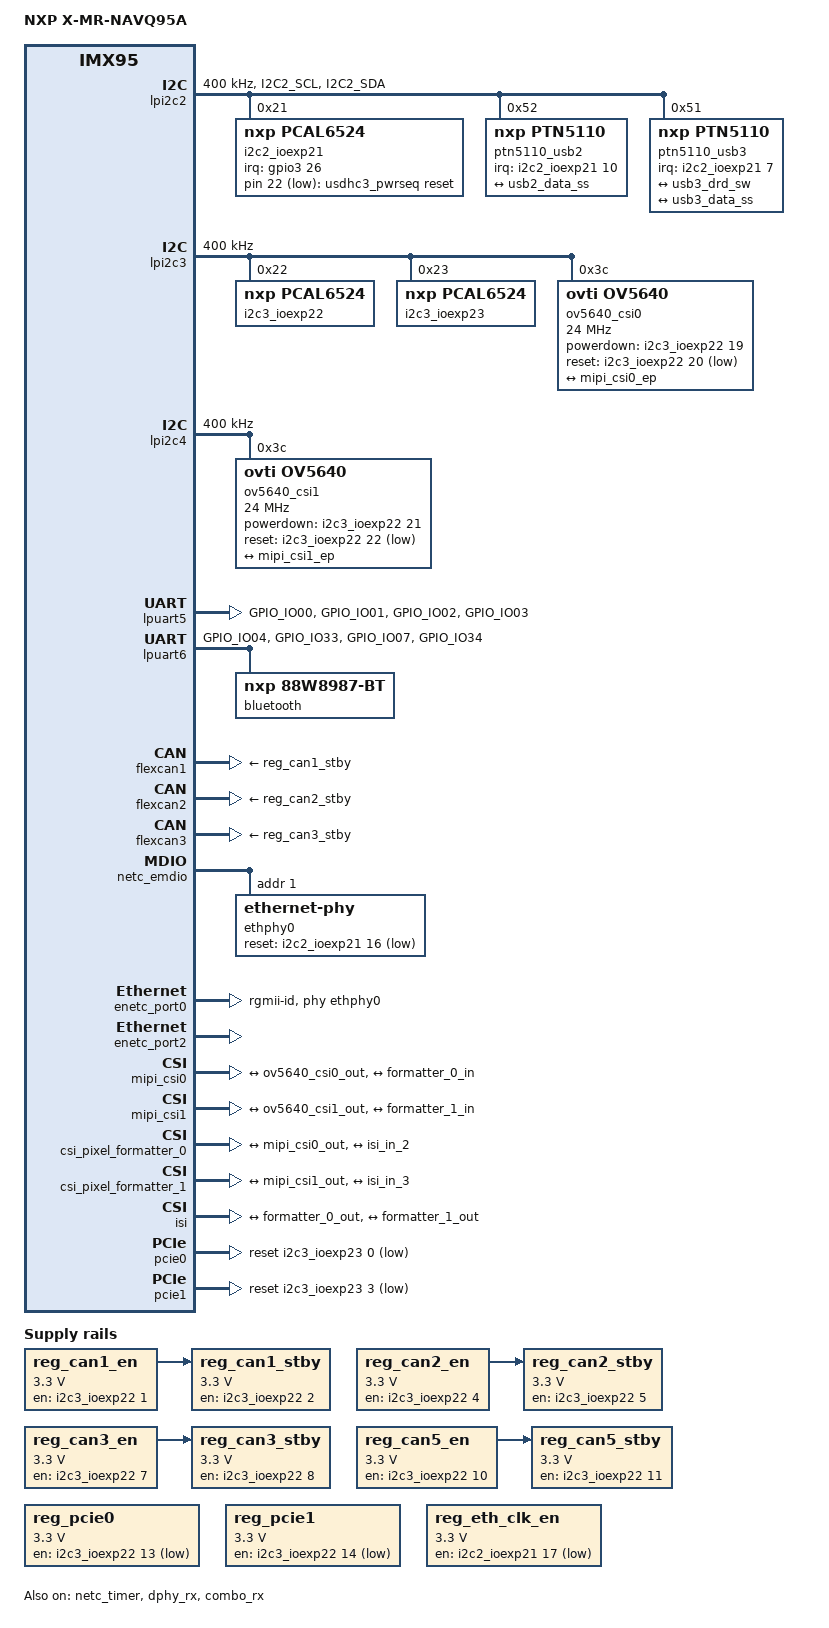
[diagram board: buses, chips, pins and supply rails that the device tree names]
// SPDX-License-Identifier: (GPL-2.0+ OR MIT)
/*
 * Copyright 2025 NXP
 */

/dts-v1/;

#include "imx95-navq.dtsi"

/ {
	model = "NXP X-MR-NAVQ95A";
	compatible = "fsl,imx95-navqa", "fsl,imx95";

	reg_can1_stby: regulator-can1-stby {
		compatible = "regulator-fixed";
		regulator-name = "can1-stby";
		regulator-min-microvolt = <3300000>;
		regulator-max-microvolt = <3300000>;
		gpio = <&i2c3_ioexp22 2 GPIO_ACTIVE_HIGH>;
		enable-active-high;
		vin-supply = <&reg_can1_en>;
	};

	reg_can1_en: regulator-can1-en {
		compatible = "regulator-fixed";
		regulator-name = "can1-en";
		regulator-min-microvolt = <3300000>;
		regulator-max-microvolt = <3300000>;
		gpio = <&i2c3_ioexp22 1 GPIO_ACTIVE_HIGH>;
		enable-active-high;
	};

	reg_can2_stby: regulator-can2-stby {
		compatible = "regulator-fixed";
		regulator-name = "can2-stby";
		regulator-min-microvolt = <3300000>;
		regulator-max-microvolt = <3300000>;
		gpio = <&i2c3_ioexp22 5 GPIO_ACTIVE_HIGH>;
		enable-active-high;
		vin-supply = <&reg_can2_en>;
	};

	reg_can2_en: regulator-can2-en {
		compatible = "regulator-fixed";
		regulator-name = "can2-en";
		regulator-min-microvolt = <3300000>;
		regulator-max-microvolt = <3300000>;
		gpio = <&i2c3_ioexp22 4 GPIO_ACTIVE_HIGH>;
		enable-active-high;
	};

	reg_can3_stby: regulator-can3-stby {
		compatible = "regulator-fixed";
		regulator-name = "can3-stby";
		regulator-min-microvolt = <3300000>;
		regulator-max-microvolt = <3300000>;
		gpio = <&i2c3_ioexp22 8 GPIO_ACTIVE_HIGH>;
		enable-active-high;
		vin-supply = <&reg_can3_en>;
	};

	reg_can3_en: regulator-can3-en {
		compatible = "regulator-fixed";
		regulator-name = "can3-en";
		regulator-min-microvolt = <3300000>;
		regulator-max-microvolt = <3300000>;
		gpio = <&i2c3_ioexp22 7 GPIO_ACTIVE_HIGH>;
		enable-active-high;
	};

	reg_can5_stby: regulator-can5-stby {
		compatible = "regulator-fixed";
		regulator-name = "can5-stby";
		regulator-min-microvolt = <3300000>;
		regulator-max-microvolt = <3300000>;
		gpio = <&i2c3_ioexp22 11 GPIO_ACTIVE_HIGH>;
		enable-active-high;
		vin-supply = <&reg_can5_en>;
	};

	reg_can5_en: regulator-can5-en {
		compatible = "regulator-fixed";
		regulator-name = "can5-en";
		regulator-min-microvolt = <3300000>;
		regulator-max-microvolt = <3300000>;
		gpio = <&i2c3_ioexp22 10 GPIO_ACTIVE_HIGH>;
		enable-active-high;
	};

	usdhc3_pwrseq: usdhc3-pwrseq {
		compatible = "mmc-pwrseq-simple";
		reset-gpios = <&i2c2_ioexp21 22 (GPIO_ACTIVE_LOW | GPIO_OPEN_DRAIN)>;
		post-power-on-delay-ms = <200>;
	};

	reg_pcie0: regulator-pcie0 {
		compatible = "regulator-fixed";
		regulator-name = "SLOT_PWREN_SDD";
		regulator-min-microvolt = <3300000>;
		regulator-max-microvolt = <3300000>;
		gpio = <&i2c3_ioexp22 13 GPIO_ACTIVE_LOW>;
		enable-active-low;
		regulator-always-on;
	};

	reg_pcie1: regulator-pcie1 {
		compatible = "regulator-fixed";
		regulator-name = "SLOT_PWREN_5G";
		regulator-min-microvolt = <3300000>;
		regulator-max-microvolt = <3300000>;
		gpio = <&i2c3_ioexp22 14 GPIO_ACTIVE_LOW>;
		enable-active-low;
		regulator-always-on;
	};

	reg_eth_clk_en: regulator-eth-clk-en {
		compatible = "regulator-fixed";
		regulator-name = "eth-clk-en";
		regulator-min-microvolt = <3300000>;
		regulator-max-microvolt = <3300000>;
		gpio = <&i2c2_ioexp21 17 GPIO_ACTIVE_LOW>;
	};
};

&lpi2c2 {
	#address-cells = <1>;
	#size-cells = <0>;
	clock-frequency = <400000>;
	pinctrl-names = "default", "sleep";
	pinctrl-0 = <&pinctrl_lpi2c2>;
	pinctrl-1 = <&pinctrl_lpi2c2>;
	/delete-property/ dmas;
	/delete-property/ dma-names;
	status = "okay";

	i2c2_ioexp21: i2c2-gpio@21 {
		compatible = "nxp,pcal6524";
		reg = <0x21>;
		gpio-controller;
		#gpio-cells = <2>;
		pinctrl-names = "default";
		pinctrl-0 = <&pinctrl_i2c2_ioexp21>;
		interrupt-controller;
		#interrupt-cells = <2>;
		interrupt-parent = <&gpio3>;
		interrupts = <26 IRQ_TYPE_EDGE_FALLING>;
		status = "okay";

		sja1110_sw_int_n: sja1110-sw-int-n {
			gpio-hog;
			gpios = <3 (GPIO_ACTIVE_LOW | GPIO_LINE_OPEN_DRAIN | GPIO_PULL_UP)>;
			input;
		};

		usb1_ptn_int_b: usb1-ptn-int-b {
			gpio-hog;
			gpios = <7 (GPIO_ACTIVE_LOW | GPIO_LINE_OPEN_DRAIN | GPIO_PULL_UP)>;
			input;
		};

		usb1_ptn_flt_b: usb1-ptn-flt-b {
			gpio-hog;
			gpios = <8 (GPIO_ACTIVE_LOW | GPIO_LINE_OPEN_DRAIN | GPIO_PULL_UP)>;
			input;
		};

		int_sw_usb1_b: int-sw-usb1-b {
			gpio-hog;
			gpios = <9 (GPIO_ACTIVE_LOW | GPIO_LINE_OPEN_DRAIN)>;
			input;
		};

		usb2_ptn_int_b: usb2-ptn-int-b {
			gpio-hog;
			gpios = <10 (GPIO_ACTIVE_LOW | GPIO_LINE_OPEN_DRAIN | GPIO_PULL_UP)>;
			input;
		};

		usb2_ptn_flt_b: usb2-ptn-flt-b {
			gpio-hog;
			gpios = <11 (GPIO_ACTIVE_LOW | GPIO_LINE_OPEN_DRAIN | GPIO_PULL_UP)>;
			input;
		};

		int_sw_usb2_b: int-sw-usb2-b {
			gpio-hog;
			gpios = <12 (GPIO_ACTIVE_LOW | GPIO_LINE_OPEN_DRAIN)>;
			input;
		};

		si5332_rst: si5332-rst {
			gpio-hog;
			gpios = <18 GPIO_ACTIVE_HIGH>;
			output-low;
		};

		sja1110_rst_n: sja1110-rst-n {
			gpio-hog;
			gpios = <20 GPIO_ACTIVE_LOW>;
			output-low;
		};

		sja1110_rst_core_n: sja1110-rst-core-n {
			gpio-hog;
			gpios = <21 GPIO_ACTIVE_LOW>;
			output-low;
		};

		se_enable: se-enable {
			gpio-hog;
			gpios = <23 GPIO_ACTIVE_HIGH>;
			output-high;
		};
	};

	ptn5110_usb2: tcpc_usb2@52 {
		compatible = "nxp,ptn5110";
		pinctrl-names = "default";
		reg = <0x52>;
		interrupt-parent = <&i2c2_ioexp21>;
		interrupts = <10 IRQ_TYPE_EDGE_FALLING>; // 10 = USB2_PTN_INT_B

		typec_con2: connector {
			compatible = "usb-c-connector";
			label = "USB-C";
			power-role = "source";
			data-role = "dual";
			try-power-role = "source";
			source-pdos = <PDO_FIXED(5000, 3000, PDO_FIXED_USB_COMM)>;
			op-sink-microwatt = <0>;
			self-powered;

			ports {
				#address-cells = <1>;
				#size-cells = <0>;

				port@1 {
					reg = <1>;
					typec_con_ss2: endpoint {
						remote-endpoint = <&usb2_data_ss>;
					};
				};
			};
		};
	};

	ptn5110_usb3: tcpc_usb3@51 {
		compatible = "nxp,ptn5110";
		pinctrl-names = "default";
		reg = <0x51>;
		interrupt-parent = <&i2c2_ioexp21>;
		interrupts = <7 IRQ_TYPE_EDGE_FALLING>; // 7 = USB1_PTN_INT_B

		port {
			typec_dr_sw3: endpoint {
				remote-endpoint = <&usb3_drd_sw>;
			};
		};

		typec_con3: connector {
			compatible = "usb-c-connector";
			label = "USB-C";
			power-role = "source";
			data-role = "dual";
			try-power-role = "source";
			source-pdos = <PDO_FIXED(5000, 3000, PDO_FIXED_USB_COMM)>;
			op-sink-microwatt = <0>;
			self-powered;

			ports {
				#address-cells = <1>;
				#size-cells = <0>;

				port@1 {
					reg = <1>;
					typec_con_ss3: endpoint {
						remote-endpoint = <&usb3_data_ss>;
					};
				};
			};
		};
	};
};

&lpi2c3 {
	#address-cells = <1>;
	#size-cells = <0>;
	clock-frequency = <400000>;
	pinctrl-names = "default", "sleep";
	pinctrl-0 = <&pinctrl_lpi2c3>;
	pinctrl-1 = <&pinctrl_lpi2c3>;
	status = "okay";

	i2c3_ioexp22: i2c3-gpio@22 {
		compatible = "nxp,pcal6524";
		reg = <0x22>;
		gpio-controller;
		#gpio-cells = <2>;
/*
interrupt connected to pcal6416 managed by m33
		pinctrl-names = "default";
		pinctrl-0 = <&pinctrl_i2c3_ioexp22>;
		interrupt-controller;
		#interrupt-cells = <2>;
		interrupt-parent = <&gpio3>;
		interrupts = <26 IRQ_TYPE_LEVEL_LOW>;
*/
		status = "okay";

		can_power_en: can-power-en {
			gpio-hog;
			gpios = <0 GPIO_ACTIVE_HIGH>;
			output-high;
		};

		/* enable can5; used by m7 */

		can5_en: can5-en {
			gpio-hog;
			gpios = <10 GPIO_ACTIVE_HIGH>;
			output-high;
		};

		can5_stby_b: can5-stby-b {
			gpio-hog;
			gpios = <11 GPIO_ACTIVE_LOW>;
			output-low;
		};

		m2_pwren_ssd_n: m2-pwren-ssd-n {
			gpio-hog;
			gpios = <13 GPIO_ACTIVE_LOW>;
			output-high;
		};

		m2_pwren_5g_n: m2-pwren-5g-n {
			gpio-hog;
			gpios = <14 GPIO_ACTIVE_LOW>;
			output-high;
		};

		pcie1_full_card_power_off_n: full-card-power-off-n {
			gpio-hog;
			gpios = <15 GPIO_ACTIVE_LOW>;
			output-low;
		};

		usb1_wat_flg_b: usb1-wat-flg-b {
			gpio-hog;
			gpios = <16 (GPIO_ACTIVE_LOW | GPIO_LINE_OPEN_DRAIN | GPIO_PULL_UP)>;
			input;
		};

		usb2_wat_flg_b: usb2-wat-flg-b {
			gpio-hog;
			gpios = <17 (GPIO_ACTIVE_LOW | GPIO_LINE_OPEN_DRAIN | GPIO_PULL_UP)>;
			input;
		};

		enable_1v8_buffer_b: enable-1v8-buffer-b {
			gpio-hog;
			gpios = <23 GPIO_ACTIVE_LOW>;
			output-high;
		};
	};

	i2c3_ioexp23: i2c3-gpio@23 {
		compatible = "nxp,pcal6524";
		reg = <0x23>;
		gpio-controller;
		#gpio-cells = <2>;
/*
interrupt connected to pcal6416 managed by m33
		pinctrl-names = "default";
		pinctrl-0 = <&pinctrl_i2c3_ioexp23>;
		interrupt-controller;
		#interrupt-cells = <2>;
		interrupt-parent = <&gpio3>;
		interrupts = <26 IRQ_TYPE_LEVEL_LOW>;
*/
		status = "okay";

		// pcie1_w_disable_n: w-disable-n {
		// 	gpio-hog;
		// 	gpios = <9 GPIO_ACTIVE_LOW>;
		// 	output-low;
		// };

		// pcie1_pewake_n: pewake-n {
		// 	gpio-hog;
		// 	gpios = <4 GPIO_ACTIVE_LOW>;
		// 	output-low;
		// };

		// pcie1_reset_n: reset-n {
		// 	gpio-hog;
		// 	gpios = <23 GPIO_ACTIVE_LOW>;
		// 	output-low;
		// };
	};

	ov5640_csi0: ov5640@3c {
		compatible = "ovti,ov5640";
		reg = <0x3c>;
		clocks = <&scmi_clk IMX95_CLK_24M>;
		clock-names = "xclk";
		clock-frequency = <24000000>;
		status = "okay";
		powerdown-gpios = <&i2c3_ioexp22 19 GPIO_ACTIVE_HIGH>;
		reset-gpios = <&i2c3_ioexp22 20 GPIO_ACTIVE_LOW>;

		ports {
			#address-cells = <1>;
			#size-cells = <0>;

			port@0 {
				reg = <0>;
			};

			port@1 {
				reg = <1>;
			};

			port@2 {
				reg = <2>;
				ov5640_csi0_out: endpoint {
					remote-endpoint = <&mipi_csi0_ep>;
					data-lanes = <1 2>;
					clock-lanes = <0>;
				};
			};
		};
	};
};

&lpi2c4 {
	#address-cells = <1>;
	#size-cells = <0>;
	clock-frequency = <400000>;
	pinctrl-names = "default", "sleep";
	pinctrl-0 = <&pinctrl_lpi2c4>;
	pinctrl-1 = <&pinctrl_lpi2c4>;
	status = "okay";

	ov5640_csi1: ov5640@3c {
		compatible = "ovti,ov5640";
		reg = <0x3c>;
		clocks = <&scmi_clk IMX95_CLK_24M>;
		clock-names = "xclk";
		clock-frequency = <24000000>;
		status = "okay";
		powerdown-gpios = <&i2c3_ioexp22 21 GPIO_ACTIVE_HIGH>;
		reset-gpios = <&i2c3_ioexp22 22 GPIO_ACTIVE_LOW>;

		ports {
			#address-cells = <1>;
			#size-cells = <0>;

			port@0 {
				reg = <0>;
			};

			port@1 {
				reg = <1>;
			};

			port@2 {
				reg = <2>;
				ov5640_csi1_out: endpoint {
					remote-endpoint = <&mipi_csi1_ep>;
					data-lanes = <1 2>;
					clock-lanes = <0>;
				};
			};
		};
	};
};

&lpspi7 {
	fsl,spi-num-chipselects = <1>;
	pinctrl-names = "default", "sleep";
	pinctrl-0 = <&pinctrl_lpspi7>;
	pinctrl-1 = <&pinctrl_lpspi7>;
	status = "disabled";

	spidev0: spi@0 {
		reg = <0>;
		compatible = "lwn,bk4";
		spi-max-frequency = <1000000>;
	};
};

&lpuart5 {
	/* J20 */
	pinctrl-names = "default";
	pinctrl-0 = <&pinctrl_uart5>;
	uart-has-rtscts;
	status = "okay";
};

&lpuart6 {
	/* BT */
	pinctrl-names = "default";
	pinctrl-0 = <&pinctrl_uart6>;
	uart-has-rtscts;
	status = "okay";

	bluetooth {
		compatible = "nxp,88w8987-bt";
	};
};

/* pin conflict with PDM */
&flexcan1 {
	pinctrl-names = "default";
	pinctrl-0 = <&pinctrl_flexcan1>;
	xceiver-supply = <&reg_can1_stby>;
	status = "okay";
};

&flexcan2 {
	pinctrl-names = "default";
	pinctrl-0 = <&pinctrl_flexcan2>;
	xceiver-supply = <&reg_can2_stby>;
	status = "okay";
};

&flexcan3 {
	pinctrl-names = "default";
	pinctrl-0 = <&pinctrl_flexcan3>;
	xceiver-supply = <&reg_can3_stby>;
	status = "okay";
};

&flexcan5 {
	pinctrl-names = "default";
	pinctrl-0 = <&pinctrl_flexcan5>;
	xceiver-supply = <&reg_can5_stby>;
	status = "disabled";
};

&netc_emdio {
	pinctrl-names = "default";
	pinctrl-0 = <&pinctrl_emdio>;
	status = "okay";

	ethphy0: ethernet-phy@1 {
		reg = <1>;
		eee-broken-1000t;
		reset-gpios = <&i2c2_ioexp21 16 GPIO_ACTIVE_LOW>;
		reset-assert-us = <10000>;
		reset-deassert-us = <80000>;
		realtek,clkout-disable;
	};
};

&enetc_port0 {
	//serdes-supply = <&reg_serdes_en>; // This will make the end0 interface sometimes not getting an ip4 address. Timing?
	pinctrl-names = "default";
	pinctrl-0 = <&pinctrl_enetc0>;
	phy-handle = <&ethphy0>;
	phy-mode = "rgmii-id";
	status = "okay";
};

&enetc_port2 {
	serdes-supply = <&reg_eth_clk_en>;
	status = "okay";
};

&netc_timer {
	status = "okay";
};

&dphy_rx {
	status = "okay";
};

&combo_rx {
	status = "okay";
};

&mipi_csi0 {
	status = "okay";

	ports {
		#address-cells = <1>;
		#size-cells = <0>;

		port@0 {
			reg = <0>;
			mipi_csi0_ep: endpoint {
				remote-endpoint = <&ov5640_csi0_out>;
				data-lanes = <1 2>;
				clock-lanes = <0>;
			};
		};

		port@1 {
			reg = <1>;
				mipi_csi0_out: endpoint {
				remote-endpoint = <&formatter_0_in>;
			};
		};
	};
};

&mipi_csi1 {
	status = "okay";

	ports {
		#address-cells = <1>;
		#size-cells = <0>;

		port@0 {
			reg = <0>;
			mipi_csi1_ep: endpoint {
				remote-endpoint = <&ov5640_csi1_out>;
				data-lanes = <1 2>;
				clock-lanes = <0>;
			};
		};

		port@1 {
			reg = <1>;
				mipi_csi1_out: endpoint {
				remote-endpoint = <&formatter_1_in>;
			};
		};
	};
};

&csi_pixel_formatter_0 {
	status = "okay";

	ports {
		#address-cells = <1>;
		#size-cells = <0>;

		port@0 {
			reg = <0>;

			formatter_0_in: endpoint {
				remote-endpoint = <&mipi_csi0_out>;
			};
		};

		port@1 {
			reg = <1>;

			formatter_0_out: endpoint {
				remote-endpoint = <&isi_in_2>;
			};
		};
	};
};

&csi_pixel_formatter_1 {
	status = "okay";

	ports {
		#address-cells = <1>;
		#size-cells = <0>;

		port@0 {
			reg = <0>;

			formatter_1_in: endpoint {
				remote-endpoint = <&mipi_csi1_out>;
			};
		};

		port@1 {
			reg = <1>;

			formatter_1_out: endpoint {
				remote-endpoint = <&isi_in_3>;
			};
		};
	};
};

&isi {
	status = "okay";

	ports {
		#address-cells = <1>;
		#size-cells = <0>;

		port@2 {
			reg = <2>;

			isi_in_2: endpoint {
				remote-endpoint = <&formatter_0_out>;
			};
		};

		port@3 {
			reg = <3>;

			isi_in_3: endpoint {
				remote-endpoint = <&formatter_1_out>;
			};
		};
	};
};

&pcie0 {
	pinctrl-0 = <&pinctrl_pcie0>;
	pinctrl-names = "default";
	fsl,refclk-pad-mode = <IMX8_PCIE_REFCLK_PAD_OUTPUT>;
	reset-gpio = <&i2c3_ioexp23 0 GPIO_ACTIVE_LOW>;
	vpcie-supply = <&reg_pcie0>;
	status = "okay";
};

&pcie1 {
	pinctrl-0 = <&pinctrl_pcie1>;
	pinctrl-names = "default";
	fsl,refclk-pad-mode = <IMX8_PCIE_REFCLK_PAD_OUTPUT>;
	reset-gpio = <&i2c3_ioexp23 3 GPIO_ACTIVE_LOW>;
	vpcie-supply = <&reg_pcie1>;
	status = "okay";
};

&pcie1_ep {
	pinctrl-0 = <&pinctrl_pcie1>;
	pinctrl-names = "default";
	fsl,refclk-pad-mode = <IMX8_PCIE_REFCLK_PAD_OUTPUT>;
	vpcie-supply = <&reg_pcie1>;
	status = "okay";
};

&scmi_iomuxc {
	pinctrl_uart5: uart5grp {
		fsl,pins = <
			IMX95_PAD_GPIO_IO00__LPUART5_TX			0x31e
			IMX95_PAD_GPIO_IO01__LPUART5_RX			0x31e
			IMX95_PAD_GPIO_IO02__LPUART5_CTS_B		0x31e
			IMX95_PAD_GPIO_IO03__LPUART5_RTS_B		0x31e
		>;
	};

	pinctrl_uart6: uart6grp {
		fsl,pins = <
			IMX95_PAD_GPIO_IO04__LPUART6_TX			0x31e
			IMX95_PAD_GPIO_IO33__LPUART6_RX			0x31e
			IMX95_PAD_GPIO_IO07__LPUART6_RTS_B		0x31e
			IMX95_PAD_GPIO_IO34__LPUART6_CTS_B		0x31e
		>;
	};

	pinctrl_lpi2c2: lpi2c2grp {
		fsl,pins = <
			IMX95_PAD_I2C2_SCL__AONMIX_TOP_LPI2C2_SCL	0x40000b9e
			IMX95_PAD_I2C2_SDA__AONMIX_TOP_LPI2C2_SDA	0x40000b9e
		>;
	};

	pinctrl_lpspi7: lpspi7grp {
		fsl,pins = <
			IMX95_PAD_GPIO_IO04__LPSPI7_PCS0	0x3fe
			IMX95_PAD_GPIO_IO05__LPSPI7_SIN		0x3fe
			IMX95_PAD_GPIO_IO06__LPSPI7_SOUT	0x3fe
			IMX95_PAD_GPIO_IO07__LPSPI7_SCK		0x3fe
		>;
	};

	pinctrl_i2c2_ioexp21: i2c2_ioexp21grp {
		fsl,pins = <
			IMX95_PAD_CCM_CLKO1__GPIO3_IO_BIT26			0x31e
		>;
	};

	pinctrl_flexcan5: flexcan5grp {
		fsl,pins = <
			IMX95_PAD_GPIO_IO22__CAN5_TX			0x39e
			IMX95_PAD_GPIO_IO23__CAN5_RX			0x39e
		>;
	};
};
